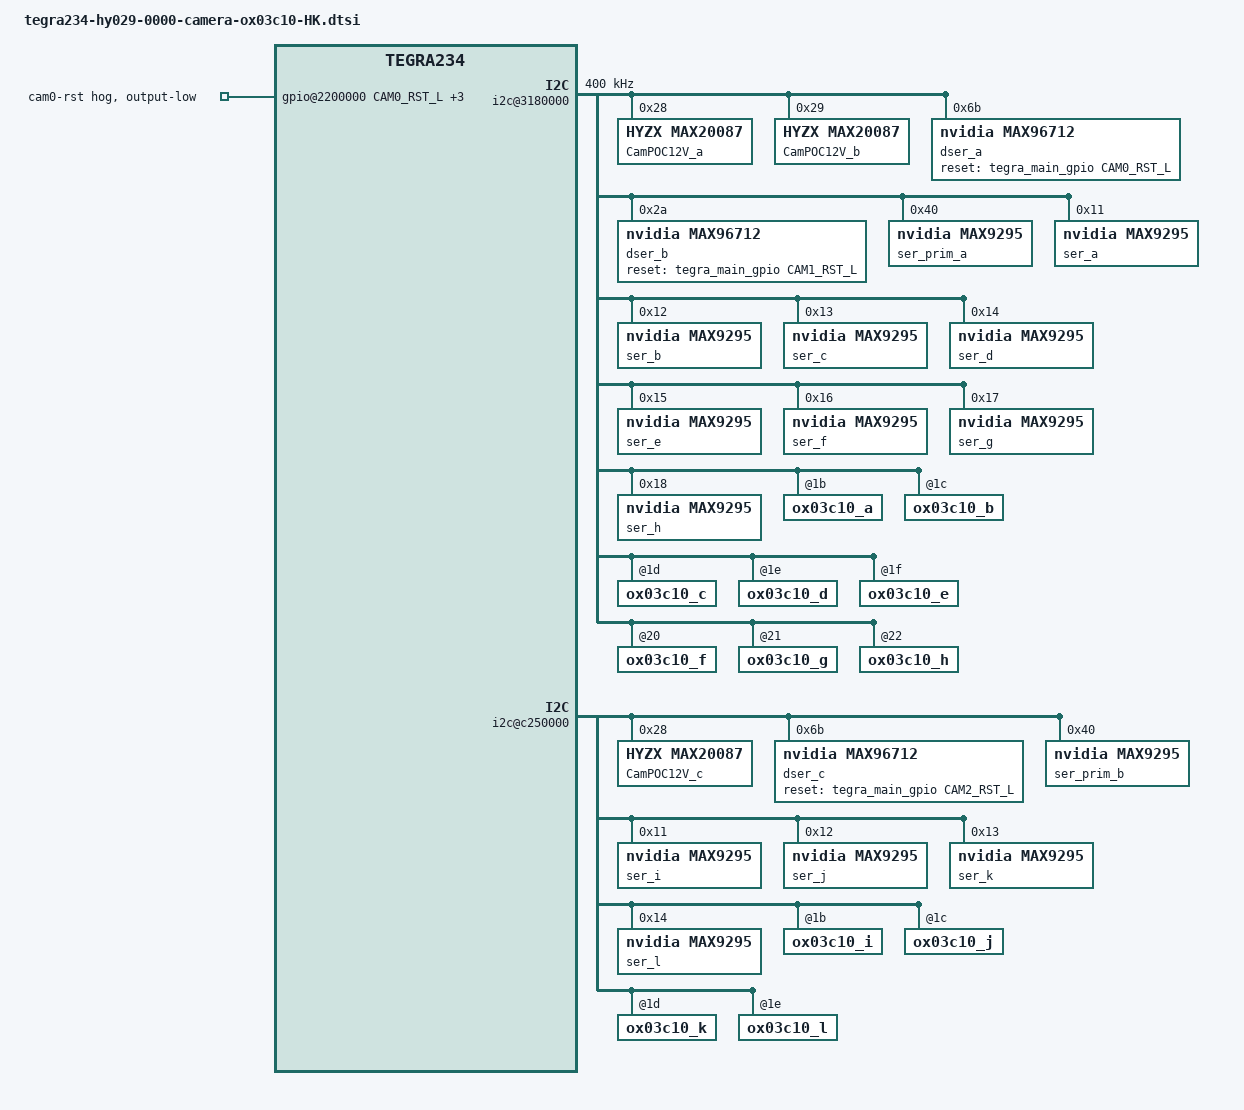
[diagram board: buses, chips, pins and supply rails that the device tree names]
/*
 * Copyright (c) 2018-2019, NVIDIA CORPORATION.  All rights reserved.
 *
 * This program is free software; you can redistribute it and/or modify
 * it under the terms of the GNU General Public License as published by
 * the Free Software Foundation; either version 2 of the License, or
 * (at your option) any later version.
 *
 * This program is distributed in the hope that it will be useful, but WITHOUT
 * ANY WARRANTY; without even the implied warranty of MERCHANTABILITY or
 * FITNESS FOR A PARTICULAR PURPOSE.  See the GNU General Public License for
 * more details.
 *
 * You should have received a copy of the GNU General Public License
 * along with this program.  If not, see <http://www.gnu.org/licenses/>.
 */
#include <t234-common-modules/tegra234-hy029-0000-camera-ox03c10-HK.dtsi>
#include "dt-bindings/clock/tegra234-clock.h"

#define CAMERA_I2C_MUX_BUS(x) (0x1E + x)

/* camera control gpio definitions */

/ {

	/* set camera gpio direction to output */
	gpio@2200000 {
		camera-control-output-low {
			gpio-hog;
			output-low;
			gpios = <CAM0_RST_L 0 CAM1_RST_L 0
				 CAM2_RST_L 0 CAM3_RST_L 0>;

			label = "cam0-rst", "cam1-rst",
				"cam2-rst", "cam3-rst";
		};
	};

	i2c@3180000 {
		clock-frequency = <400000>;
	
        CamPOC12V_a: max2008X@00{
            compatible = "HYZX,max20087";
            reg = <0x28>;
            out-ports = <4>;
            out-boot-on = <1 1 1 1>;
            power-on-delay = <250>;
            status = "okay";
        };
        CamPOC12V_b: max2008X@01{
            compatible = "HYZX,max20087";
            reg = <0x29>;
            out-ports = <4>;
            out-boot-on = <1 1 1 1>;
            power-on-delay = <250>;
            status = "okay";
        };

		/* max96712 A: 0x6b */
		dser_a: max96712_a@6b{
			compatible = "nvidia,max96712";
			reg = <0x6b>;
			/* MIPI PHY 2x4 mode: MIPI output configured as two ports with four data lanes each.*/
	 		/* PHY0 and PHY1 combined, and PHY2 and PHY3 combined. CPHY and DPHY are the same.*/
			/* CPHY: two of the 2-trio PHYs are combined as 4-trio */
			csi-mode = "2x4";
			max-src = <4>;
			dser-num = <0>;
			mipi-clk = <1200>;  /* mipi-clk: MHz */
			gmsl-mode = "gmsl-2-3G";  /* Example: "gmsl-1", "gmsl-2", "gmsl-2-3G" */
			reset-gpios = <&tegra_main_gpio CAM0_RST_L GPIO_ACTIVE_HIGH>;
		};

		/* max96712 B: 0x2a */
		dser_b: max96712_b@2a{
			compatible = "nvidia,max96712";
			reg = <0x2a>;
			csi-mode = "2x4";
			max-src = <4>;
			dser-num = <1>;
			mipi-clk = <1200>;  /* mipi-clk: MHz */
			gmsl-mode = "gmsl-2-3G";  /* Example: "gmsl-1", "gmsl-2", "gmsl-2-3G" */
			reset-gpios = <&tegra_main_gpio CAM1_RST_L GPIO_ACTIVE_HIGH>;
		};

		ser_prim_a: max9295_prim@40 {
			compatible = "nvidia,max9295";
			reg = <0x40>;
			group=<0>;
			is-prim-ser;
		};
		ser_a: max9295_a@11 {
			compatible = "nvidia,max9295";
			reg = <0x11>;
			group=<0>;
			dser-num = <0>;
			nvidia,gmsl-dser-device = <&dser_a>;
		};
		ser_b: max9295_b@12 {
			compatible = "nvidia,max9295";
			reg = <0x12>;
			group=<0>;
			dser-num = <0>;
			nvidia,gmsl-dser-device = <&dser_a>;
		};
		ser_c: max9295_c@13 {
			compatible = "nvidia,max9295";
			reg = <0x13>;
			group=<0>;
			dser-num = <0>;
			nvidia,gmsl-dser-device = <&dser_a>;
		};
		ser_d: max9295_d@14 {
			compatible = "nvidia,max9295";
			reg = <0x14>;
			group=<0>;
			dser-num = <0>;
			nvidia,gmsl-dser-device = <&dser_a>;
		};
		#if 1
		ser_e: max9295_e@15 {
			compatible = "nvidia,max9295";
			reg = <0x15>;
			group=<0>;
			dser-num = <1>;
			nvidia,gmsl-dser-device = <&dser_b>;
		};
		ser_f: max9295_f@16 {
			compatible = "nvidia,max9295";
			reg = <0x16>;
			group=<0>;
			dser-num = <1>;
			nvidia,gmsl-dser-device = <&dser_b>;
		};
		ser_g: max9295_g@17 {
			compatible = "nvidia,max9295";
			reg = <0x17>;
			group=<0>;
			dser-num = <1>;
			nvidia,gmsl-dser-device = <&dser_b>;
		};
		ser_h: max9295_h@18 {
			compatible = "nvidia,max9295";
			reg = <0x18>;
			group=<0>;
			dser-num = <1>;
			nvidia,gmsl-dser-device = <&dser_b>;
		};
		#endif
		ox03c10_a@1b {
			def-addr = <0x36>;
			clocks = <&bpmp_clks TEGRA234_CLK_EXTPERIPH1>,
					<&bpmp_clks TEGRA234_CLK_EXTPERIPH1>;
			clock-names = "extperiph1", "pllp_grtba";
			mclk = "extperiph1";
			dser-num = <0>;
			dser-type = "max96712";
			nvidia,gmsl-ser-device = <&ser_a>;
			nvidia,gmsl-dser-device = <&dser_a>;
			gmsl-link {
				frame-sync-en;
			};
		};
		ox03c10_b@1c {
			def-addr = <0x36>;
			clocks = <&bpmp_clks TEGRA234_CLK_EXTPERIPH1>,
					<&bpmp_clks TEGRA234_CLK_EXTPERIPH1>;
			clock-names = "extperiph1", "pllp_grtba";
			mclk = "extperiph1";
			dser-num = <0>;
			dser-type = "max96712";
			nvidia,gmsl-ser-device = <&ser_b>;
			nvidia,gmsl-dser-device = <&dser_a>;
			gmsl-link {
				frame-sync-en;
			};
		};
		ox03c10_c@1d {
			def-addr = <0x36>;
			clocks = <&bpmp_clks TEGRA234_CLK_EXTPERIPH1>,
					<&bpmp_clks TEGRA234_CLK_EXTPERIPH1>;
			clock-names = "extperiph1", "pllp_grtba";
			mclk = "extperiph1";
			dser-num = <0>;
			dser-type = "max96712";
			nvidia,gmsl-ser-device = <&ser_c>;
			nvidia,gmsl-dser-device = <&dser_a>;
			gmsl-link {
				frame-sync-en;
			};
		};
		ox03c10_d@1e {
			def-addr = <0x36>;
			clocks = <&bpmp_clks TEGRA234_CLK_EXTPERIPH1>,
					<&bpmp_clks TEGRA234_CLK_EXTPERIPH1>;
			clock-names = "extperiph1", "pllp_grtba";
			mclk = "extperiph1";
			dser-num = <0>;
			dser-type = "max96712";
			nvidia,gmsl-ser-device = <&ser_d>;
			nvidia,gmsl-dser-device = <&dser_a>;
			gmsl-link {
				frame-sync-en;
			};
		};
		#if 1
		ox03c10_e@1f {
			def-addr = <0x36>;
			clocks = <&bpmp_clks TEGRA234_CLK_EXTPERIPH1>,
					<&bpmp_clks TEGRA234_CLK_EXTPERIPH1>;
			clock-names = "extperiph1", "pllp_grtba";
			mclk = "extperiph1";
			dser-num = <1>;
			dser-type = "max96712";
			nvidia,gmsl-ser-device = <&ser_e>;
			nvidia,gmsl-dser-device = <&dser_b>;
			gmsl-link {
				frame-sync-en;
			};
		};
		ox03c10_f@20 {
			def-addr = <0x36>;
			clocks = <&bpmp_clks TEGRA234_CLK_EXTPERIPH1>,
					<&bpmp_clks TEGRA234_CLK_EXTPERIPH1>;
			clock-names = "extperiph1", "pllp_grtba";
			mclk = "extperiph1";
			dser-num = <1>;
			dser-type = "max96712";
			nvidia,gmsl-ser-device = <&ser_f>;
			nvidia,gmsl-dser-device = <&dser_b>;
			gmsl-link {
				frame-sync-en;
			};
		};
		ox03c10_g@21 {
			def-addr = <0x36>;
			clocks = <&bpmp_clks TEGRA234_CLK_EXTPERIPH1>,
					<&bpmp_clks TEGRA234_CLK_EXTPERIPH1>;
			clock-names = "extperiph1", "pllp_grtba";
			mclk = "extperiph1";
			dser-num = <1>;
			dser-type = "max96712";
			nvidia,gmsl-ser-device = <&ser_g>;
			nvidia,gmsl-dser-device = <&dser_b>;
			gmsl-link {
				frame-sync-en;
			};
		};
		ox03c10_h@22 {
			def-addr = <0x36>;
			clocks = <&bpmp_clks TEGRA234_CLK_EXTPERIPH1>,
					<&bpmp_clks TEGRA234_CLK_EXTPERIPH1>;
			clock-names = "extperiph1", "pllp_grtba";
			mclk = "extperiph1";
			dser-num = <1>;
			dser-type = "max96712";
			nvidia,gmsl-ser-device = <&ser_h>;
			nvidia,gmsl-dser-device = <&dser_b>;
			gmsl-link {
				frame-sync-en;
			};
		};
		#endif
	};
	
	i2c@c250000 {
        CamPOC12V_c: max2008X@02{
            compatible = "HYZX,max20087";
            reg = <0x28>;
            out-ports = <4>;
            out-boot-on = <1 1 1 1>;
            power-on-delay = <250>;
            status = "okay";
        };
        
		/* max96712 C: 0x6b */
		dser_c: max96712_c@6b{
			compatible = "nvidia,max96712";
			reg = <0x6b>;
			csi-mode = "2x4";
			max-src = <4>;
			dser-num = <2>;
			mipi-clk = <1200>;  /* mipi-clk: MHz */
			gmsl-mode = "gmsl-2-3G";  /* Example: "gmsl-1", "gmsl-2", "gmsl-2-3G" */
			reset-gpios = <&tegra_main_gpio CAM2_RST_L GPIO_ACTIVE_HIGH>;
		};

		ser_prim_b: max9295_prim@40 {
			compatible = "nvidia,max9295";
			reg = <0x40>;
			group=<1>;
			is-prim-ser1;
		};

		ser_i: max9295_i@11 {
			compatible = "nvidia,max9295";
			reg = <0x11>;
			group=<1>;
			dser-num = <2>;
			nvidia,gmsl-dser-device = <&dser_c>;
		};
		ser_j: max9295_j@12 {
			compatible = "nvidia,max9295";
			reg = <0x12>;
			group=<1>;
			dser-num = <2>;
			nvidia,gmsl-dser-device = <&dser_c>;
		};
		ser_k: max9295_k@13 {
			compatible = "nvidia,max9295";
			reg = <0x13>;
			group=<1>;
			dser-num = <2>;
			nvidia,gmsl-dser-device = <&dser_c>;
		};
		ser_l: max9295_l@14 {
			compatible = "nvidia,max9295";
			reg = <0x14>;
			group=<1>;
			dser-num = <2>;
			nvidia,gmsl-dser-device = <&dser_c>;
		};

		ox03c10_i@1b {
			def-addr = <0x36>;
			clocks = <&bpmp_clks TEGRA234_CLK_EXTPERIPH1>,
					<&bpmp_clks TEGRA234_CLK_EXTPERIPH1>;
			clock-names = "extperiph1", "pllp_grtba";
			mclk = "extperiph1";
			dser-num = <2>;
			dser-type = "max96712";
			nvidia,gmsl-ser-device = <&ser_i>;
			nvidia,gmsl-dser-device = <&dser_c>;
			gmsl-link {
				frame-sync-en;
			};
		};
		ox03c10_j@1c {
			def-addr = <0x36>;
			clocks = <&bpmp_clks TEGRA234_CLK_EXTPERIPH1>,
					<&bpmp_clks TEGRA234_CLK_EXTPERIPH1>;
			clock-names = "extperiph1", "pllp_grtba";
			mclk = "extperiph1";
			dser-num = <2>;
			dser-type = "max96712";
			nvidia,gmsl-ser-device = <&ser_j>;
			nvidia,gmsl-dser-device = <&dser_c>;
			gmsl-link {
				frame-sync-en;
			};
		};
		ox03c10_k@1d {
			def-addr = <0x36>;
			clocks = <&bpmp_clks TEGRA234_CLK_EXTPERIPH1>,
					<&bpmp_clks TEGRA234_CLK_EXTPERIPH1>;
			clock-names = "extperiph1", "pllp_grtba";
			mclk = "extperiph1";
			dser-num = <2>;
			dser-type = "max96712";
			nvidia,gmsl-ser-device = <&ser_k>;
			nvidia,gmsl-dser-device = <&dser_c>;
			gmsl-link {
				frame-sync-en;
			};
		};
		ox03c10_l@1e {
			def-addr = <0x36>;
			clocks = <&bpmp_clks TEGRA234_CLK_EXTPERIPH1>,
					<&bpmp_clks TEGRA234_CLK_EXTPERIPH1>;
			clock-names = "extperiph1", "pllp_grtba";
			mclk = "extperiph1";
			dser-num = <2>;
			dser-type = "max96712";
			nvidia,gmsl-ser-device = <&ser_l>;
			nvidia,gmsl-dser-device = <&dser_c>;
			gmsl-link {
				frame-sync-en;
			};
		};
	};

};
